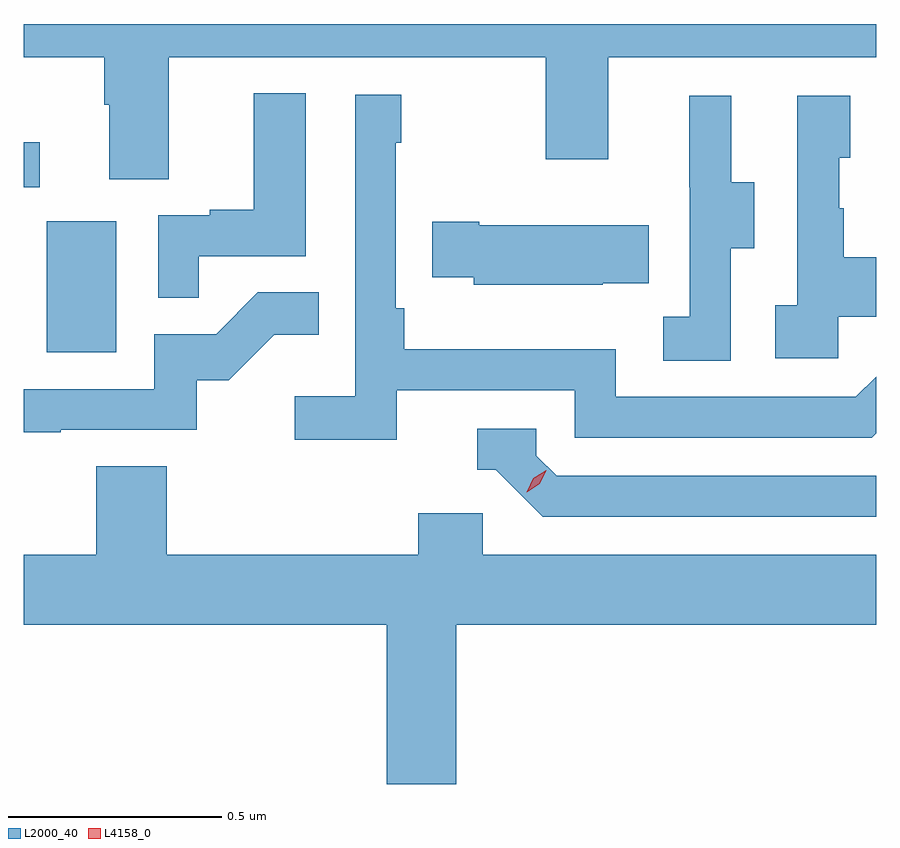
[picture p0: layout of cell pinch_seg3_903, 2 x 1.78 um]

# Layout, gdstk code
import gdstk
lib = gdstk.Library(unit=1e-6, precision=1e-09)
def R(c, l, rs):  # rectangles x0, y0, x1, y1
    for r in rs: c.add(gdstk.rectangle(r[:2], r[2:], *l))
def P(c, l, *ps):  # polygons
    for p in ps: c.add(gdstk.Polygon(p, *l))
L2000_40 = (2000, 40)
L4158_0 = (4158, 0)

pinch_seg3_903 = lib.new_cell('pinch_seg3_903')
R(pinch_seg3_903, L2000_40, [(847.526,704.22,847.69,704.527), (847.473,704.607,847.51,704.713)])
P(pinch_seg3_903, L2000_40, [(847.813,704.912),(848.698,704.912),(848.698,704.673),(848.845,704.673),(848.845,704.912),(849.473,704.912),(849.473,704.99),(847.473,704.99),(847.473,704.912),(847.661,704.912),(847.661,704.8),(847.673,704.8),(847.673,704.626),(847.813,704.626)],
  [(847.883,704.445),(848.134,704.445),(848.134,704.827),(848.012,704.827),(848.012,704.554),(847.909,704.554),(847.909,704.541),(847.788,704.541),(847.788,704.347),(847.883,704.347)],
  [(848.348,704.13),(848.766,704.13),(848.766,704.019),(849.463,704.019),(849.473,704.029),(849.473,704.162),(849.426,704.115),(848.862,704.115),(848.862,704.227),(848.366,704.227),(848.366,704.323),(848.346,704.323),(848.346,704.711),(848.359,704.711),(848.359,704.824),(848.25,704.824),(848.25,704.116),(848.109,704.116),(848.109,704.014),(848.348,704.014)],
  [(849.132,704.464),(849.187,704.464),(849.187,704.619),(849.133,704.619),(849.133,704.821),(849.035,704.821),(849.035,704.607),(849.036,704.607),(849.036,704.303),(848.973,704.303),(848.973,704.2),(849.132,704.2)],
  [(849.384,704.303),(849.473,704.303),(849.473,704.443),(849.397,704.443),(849.397,704.558),(849.387,704.558),(849.387,704.676),(849.412,704.676),(849.412,704.821),(849.288,704.821),(849.288,704.33),(849.237,704.33),(849.237,704.205),(849.384,704.205)],
  [(848.831,704.381),(848.939,704.381),(848.939,704.518),(848.542,704.518),(848.542,704.526),(848.431,704.526),(848.431,704.396),(848.529,704.396),(848.529,704.378),(848.831,704.378)],
  [(847.559,704.037),(847.878,704.037),(847.878,704.154),(847.954,704.154),(848.061,704.261),(848.165,704.261),(848.165,704.36),(848.022,704.36),(847.924,704.262),(847.779,704.262),(847.779,704.133),(847.473,704.133),(847.473,704.032),(847.559,704.032)],
  [(849.473,703.929),(848.724,703.929),(848.676,703.977),(848.676,704.04),(848.537,704.04),(848.537,703.944),(848.58,703.944),(848.691,703.833),(849.473,703.833)],
  [(848.488,703.58),(849.473,703.58),(849.473,703.744),(848.55,703.744),(848.55,703.842),(848.399,703.842),(848.399,703.744),(847.808,703.744),(847.808,703.952),(847.643,703.952),(847.643,703.744),(847.473,703.744),(847.473,703.58),(848.324,703.58),(848.324,703.206),(848.488,703.206)])
P(pinch_seg3_903, L4158_0, [(848.653,703.891),(848.653,703.891),(848.669,703.924),(848.699,703.943),(848.699,703.943),(848.699,703.943),(848.684,703.911),(848.653,703.891)])

lib.write_gds('pinch_seg3_903.gds')
